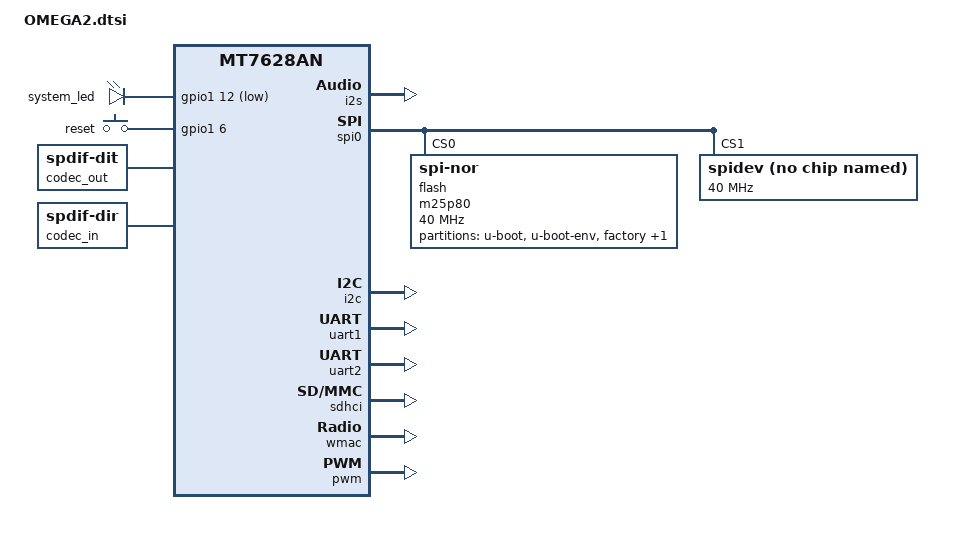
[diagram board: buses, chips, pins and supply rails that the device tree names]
#include "mt7628an.dtsi"

#include <dt-bindings/gpio/gpio.h>
#include <dt-bindings/input/input.h>

/ {
	compatible = "onion,omega2", "mediatek,mt7628an-soc";

	chosen {
		bootargs = "console=ttyS0,115200";
	};

	gpio-leds {
		compatible = "gpio-leds";

		system_led: system {
			gpios = <&gpio1 12 GPIO_ACTIVE_LOW>;
		};
	};

	gpio-keys-polled {
		compatible = "gpio-keys-polled";
		#address-cells = <1>;
		#size-cells = <0>;
		poll-interval = <20>;

		reset {
			label = "reset";
			gpios = <&gpio1 6 GPIO_ACTIVE_HIGH>;
			linux,code = <KEY_RESTART>;
		};
	};

     sound {
            compatible = "simple-audio-card";
            simple-audio-card,name = "Audio-I2S";
            simple-audio-card,format = "i2s";
            simple-audio-card,widgets =
                    "Speaker", "External Speaker",
                    "Microphone", "Microphone Jack";

            simple-audio-card,dai-link@0{
                format = "i2s";
                cpu {
                    sound-dai = <&i2s>;
                };
                codec {
                    sound-dai = <&codec_out>;
               };
           };

           simple-audio-card,dai-link@1{
               format = "i2s";
               cpu {
                   sound-dai = <&i2s>;
               };
               codec {
                   sound-dai = <&codec_in>;
               };
           };

    };

    codec_out: txcodec {
        #sound-dai-cells = <0>;
        #address-cells = <0>;
        #size-cells = <0>;
        compatible = "linux,spdif-dit";
        status = "okay";
    };

    codec_in: rxcodec {
        #sound-dai-cells = <0>;
        compatible = "linux,spdif-dir";
    };

};

&pinctrl {
	state_default: pinctrl0 {
		gpio {
			ralink,group = "gpio";
			ralink,function = "gpio";
		};

		perst {
			ralink,group = "perst";
			ralink,function = "gpio";
		};

		refclk {
			ralink,group = "refclk";
			ralink,function = "gpio";
		};

		i2s {
			ralink,group = "i2s";
			ralink,function = "i2s";
		};

		spis {
			ralink,group = "spis";
			ralink,function = "gpio";
		};

		wled_kn {
			ralink,group = "wled_kn";
			ralink,function = "gpio";
		};

		wled_an {
			ralink,group = "wled_an";
			ralink,function = "gpio";
		};

		wdt {
			ralink,group = "wdt";
			ralink,function = "gpio";
		};

		pwm0 {
			ralink,group = "pwm0";
			ralink,function = "gpio";
		};

		pwm1 {
			ralink,group = "pwm1";
			ralink,function = "gpio";
		};
	};
};

&i2s {
	#sound-dai-cells = <0>;
	status = "okay";
};

&gpio1 {
	status = "okay";
};

&gpio2 {
	status = "okay";
};

&spi0 {
	status = "okay";

	pinctrl-names = "default";
	pinctrl-0 = <&spi_pins>, <&spi_cs1_pins>;

	flash: m25p80@0 {
		#address-cells = <1>;
		#size-cells = <1>;
		compatible = "jedec,spi-nor";
		reg = <0>;
		spi-max-frequency = <40000000>;
		m25p,chunked-io = <31>;

		partition@0 {
			label = "u-boot";
			reg = <0x0 0x30000>;
			read-only;
		};

		partition@30000 {
			label = "u-boot-env";
			reg = <0x30000 0x10000>;
			read-only;
		};

		factory: partition@40000 {
			label = "factory";
			reg = <0x40000 0x10000>;
		};

		firmware: partition@50000 {
			label = "firmware";
		};
	};

	spidev@1 {
		#address-cells = <1>;
		#size-cells = <1>;
		compatible = "rohm,dh2228fv";
		reg = <1>;
		spi-max-frequency = <40000000>;
	};
};

&i2c {
	status = "okay";
};

&uart1 {
	status = "okay";
};

&uart2 {
	status = "okay";
};

&ethernet {
	mtd-mac-address = <&factory 0x28>;
};

&sdhci {
	status = "okay";
	mediatek,cd-low;
};

&wmac {
	status = "okay";
};

&pwm {
	status = "okay";
};
